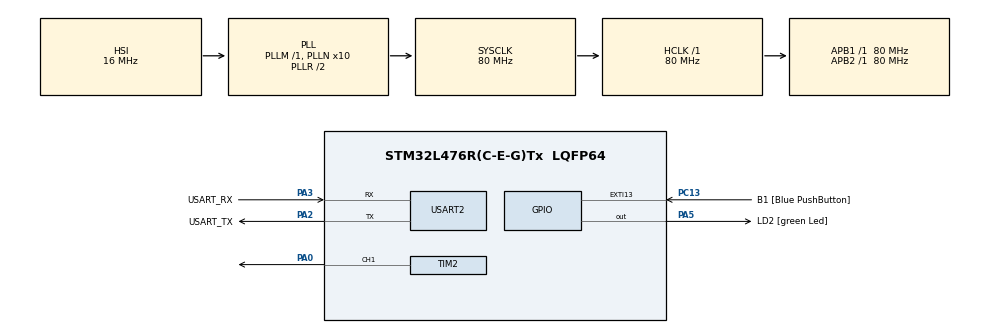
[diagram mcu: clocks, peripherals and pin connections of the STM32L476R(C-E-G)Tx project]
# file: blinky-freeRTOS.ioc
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FREERTOS.Tasks01=defaultTask,0,512,StartDefaultTask,Default,NULL,Dynamic,NULL,NULL
FREERTOS.configENABLE_FPU=1
FREERTOS.configMINIMAL_STACK_SIZE=512
FREERTOS.configTIMER_TASK_PRIORITY=4
FREERTOS.configTOTAL_HEAP_SIZE=49152
FREERTOS.configUSE_COUNTING_SEMAPHORES=1
FREERTOS.configUSE_RECURSIVE_MUTEXES=1
FREERTOS.configUSE_STATS_FORMATTING_FUNCTIONS=1
FREERTOS.configUSE_TIMERS=1
FREERTOS.configUSE_TRACE_FACILITY=1
Mcu.Family=STM32L4
Mcu.Name=STM32L476R(C-E-G)Tx
Mcu.Package=LQFP64
NVIC.PriorityGroup=NVIC_PRIORITYGROUP_4
NVIC.TIM6_DAC_IRQn=true\:15\:0\:false\:false\:true\:false\:false\:true\:true
NVIC.TimeBase=TIM6_DAC_IRQn
NVIC.TimeBaseIP=TIM6
NVIC.USART2_IRQn=true\:5\:0\:false\:false\:true\:true\:true\:true\:true
PA0.Signal=S_TIM2_CH1
PA13\ (JTMS-SWDIO).GPIO_Label=TMS
PA13\ (JTMS-SWDIO).Mode=Serial_Wire
PA13\ (JTMS-SWDIO).Signal=SYS_JTMS-SWDIO
PA14\ (JTCK-SWCLK).GPIO_Label=TCK
PA14\ (JTCK-SWCLK).Mode=Serial_Wire
PA14\ (JTCK-SWCLK).Signal=SYS_JTCK-SWCLK
PA2.GPIO_Label=USART_TX
PA2.GPIO_Mode=GPIO_MODE_AF_PP
PA2.GPIO_PuPd=GPIO_NOPULL
PA2.GPIO_Speed=GPIO_SPEED_FREQ_VERY_HIGH
PA2.Mode=Asynchronous
PA2.Signal=USART2_TX
PA3.GPIO_Label=USART_RX
PA3.GPIO_Mode=GPIO_MODE_AF_PP
PA3.GPIO_PuPd=GPIO_NOPULL
PA3.GPIO_Speed=GPIO_SPEED_FREQ_VERY_HIGH
PA3.Mode=Asynchronous
PA3.Signal=USART2_RX
PA5.GPIO_Label=LD2 [green Led]
PA5.GPIO_ModeDefaultOutputPP=GPIO_MODE_OUTPUT_PP
PA5.GPIO_PuPd=GPIO_NOPULL
PA5.GPIO_Speed=GPIO_SPEED_FREQ_LOW
PA5.Signal=GPIO_Output
PB3\ (JTDO-TRACESWO).GPIO_Label=SWO
PB3\ (JTDO-TRACESWO).Signal=SYS_JTDO-SWO
PC13.GPIO_Label=B1 [Blue PushButton]
PC13.GPIO_ModeDefaultEXTI=GPIO_MODE_IT_FALLING
PC13.GPIO_PuPd=GPIO_NOPULL
PC13.Signal=GPXTI13
PC14-OSC32_IN\ (PC14).Mode=LSE-External-Oscillator
PC14-OSC32_IN\ (PC14).Signal=RCC_OSC32_IN
PC15-OSC32_OUT\ (PC15).Mode=LSE-External-Oscillator
PC15-OSC32_OUT\ (PC15).Signal=RCC_OSC32_OUT
PH0-OSC_IN\ (PH0).Signal=RCC_OSC_IN
PH1-OSC_OUT\ (PH1).Signal=RCC_OSC_OUT
ProjectManager.HeapSize=0x200
ProjectManager.StackSize=0x400
ProjectManager.TargetToolchain=STM32CubeIDE
RCC.ADCFreq_Value=64000000
RCC.AHBFreq_Value=80000000
RCC.APB1Freq_Value=80000000
RCC.APB1TimFreq_Value=80000000
RCC.APB2Freq_Value=80000000
RCC.APB2TimFreq_Value=80000000
RCC.CortexFreq_Value=80000000
RCC.HCLKFreq_Value=80000000
RCC.HSE_VALUE=8000000
RCC.HSI_VALUE=16000000
RCC.MSI_VALUE=4000000
RCC.PLLN=10
RCC.PLLSourceVirtual=RCC_PLLSOURCE_HSI
RCC.PREFETCH_ENABLE=1
RCC.SYSCLKFreq_VALUE=80000000
RCC.SYSCLKSource=RCC_SYSCLKSOURCE_PLLCLK
RCC.USBFreq_Value=64000000
RCC.VCOOutputFreq_Value=160000000
SH.S_TIM2_CH1.0=TIM2_CH1,PWM Generation1 CH1
TIM2.Channel-PWM\ Generation1\ CH1=TIM_CHANNEL_1
TIM2.Period=time_period
TIM2.Prescaler=80
TIM2.Pulse-PWM\ Generation1\ CH1=pulse_width
USART2.VirtualMode-Asynchronous=VM_ASYNC
VP_FREERTOS_VS_CMSIS_V1.Mode=CMSIS_V1
VP_SYS_VS_tim6.Mode=TIM6
board=NUCLEO-L476RG

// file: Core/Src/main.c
/* USER CODE BEGIN Header */
/**
  ******************************************************************************
  * @file           : main.c
  * @brief          : Main program body
  ******************************************************************************
  * @attention
  *
  * Copyright (c) 2022 STMicroelectronics.
  * All rights reserved.
  *
  * This software is licensed under terms that can be found in the LICENSE file
  * in the root directory of this software component.
  * If no LICENSE file comes with this software, it is provided AS-IS.
  *
  ******************************************************************************
  */
/* USER CODE END Header */
#include "main.h"
//#include "cmsis_os.h"			//not using CMSIS wrapped API's

/* USER CODE BEGIN Includes */

//Using FreeRTOS API's directly, copied from cmsis_os.h
#include "FreeRTOS.h"
#include "task.h"
#include "timers.h"
#include "queue.h"
#include "semphr.h"
#include "event_groups.h"

//application specific library files
#include <stdio.h>			//for printf
#include <stdbool.h>		//for bool keyword
#include <string.h>			//for string operations
#include <ctype.h>			//for isalpha()
#include <stdlib.h>			//for atoi()

/* USER CODE END Includes */

/* USER CODE BEGIN PTD */

//parameters required to manipulate PWM generation
typedef enum parameters {
	none 		= 0,
	frequency 	= 1,
	duty_cycle 	= 2
}parameter_t;

//states that state machine will traverse through
typedef enum states{
	STATE0_START,
	STATE1_RX_CHOICE,
	STATE2_RX_DATA,
	STATE3_CHANGE_PWM
}state_t;

/* USER CODE END PTD */

/* USER CODE BEGIN PD */

//events that the event group will set/reset/wait for
#define EVT_PRINT_USR_MSG 		(1 << 0)	//just to kick off first execution
#define EVT_VALID_CHOICE		(1 << 1)	//will be set if user inputs a valid choice (frequency or parameter)
#define EVT_VALID_DATA			(1 << 2)	//will be set if user inputs a valid data (within range based on parameter)
#define EVT_INVALID_DATA		(1 << 3)	//will be set if user inputs either invalid data or invalid choice

#define EVT_ALL					(							\
									EVT_PRINT_USR_MSG 	|	\
									EVT_VALID_CHOICE	|	\
									EVT_VALID_DATA		|	\
									EVT_INVALID_DATA		\
								)

/* USER CODE END PD */

/* USER CODE BEGIN PM */
#define PUTCHAR_PROTOTYPE int __io_putchar(int ch)
/* USER CODE END PM */

TIM_HandleTypeDef htim2;

UART_HandleTypeDef huart2;

//osThreadId defaultTaskHandle;
/* USER CODE BEGIN PV */
volatile
uint32_t	time_period	=	1000000,		//controls frequency of PWM
			pulse_width	=	500000,			//controls duty cycle of PWM
			dcycle		=	50;				//to convert duty cycle accordingly if frequency is changed

bool		rx_flag		=	false,			//gets set when a data packet is received from user
			choice_done	=	false,			//gets set when valid choice is received
			value_done	=	false;			//gets set when valid data is received

uint8_t		byte,							//used to store user input - only one byte
			buffer[20];						//used to store user input - byte by byte until
											//carriage return is encountered

parameter_t param 		= 	none;			//global variable to store user's choice for operation
uint32_t 	value 		= 	0;				//global variable to store user's desired value of frequency or duty cycle

TaskHandle_t 		UART_Rx_Complete_Handle = NULL;	//task handle for UART_Rx_Complete
TaskHandle_t 		Parse_Data_Handle 		= NULL;	//task handle for Parse_Data
TaskHandle_t 		Control_States_Handle 	= NULL;	//task handle for Control_States

QueueHandle_t		xQueueHandle1 	= NULL;	//queue handle for a message queue
SemaphoreHandle_t 	xMutex 			= NULL;	//variable to handle mutex locks and unlocks
EventGroupHandle_t 	xEventsGroup 	= NULL;	//variable to handle the event group

/* USER CODE END PV */

void SystemClock_Config(void);
static void MX_GPIO_Init(void);
static void MX_USART2_UART_Init(void);
static void MX_TIM2_Init(void);
//void StartDefaultTask(void const * argument);

/* USER CODE BEGIN PFP */

/*
 * @brief		:	Middle Priority Task, waits for UART Callback function
 * 					to set the flag. Once the flag is set, it sends the data
 * 					to lower priority task over a message queue.
 *
 * @parameters	:	void *args	:	arguments required to process, if any
 *
 * @returns		:	ideally should never return, in case of an error, calls
 * 					vTaskDelete() to exit gracefully
 */
void UART_Rx_Complete (void *args);

/*
 * @brief		:	Lowest priority task, waits for UART_Rx_Complete to enqueue
 * 					data on message queue. Once data is available on the queue,
 * 					it receives the data, checks its validity and sets appropriate
 * 					events which drive the state machine.
 *
 * @parameters	:	void *args	:	arguments required to process, if any
 *
 * @returns		:	ideally should never return, in case of an error, calls
 * 					vTaskDelete() to exit gracefully
 *
 */
void Parse_Data (void *args);

/*
 *	@brief		:	Highest priority task, checks whether an event is set or not,
 *					and drives the state machine accordingly.
 *
 * @parameters	:	void *args	:	arguments required to process, if any
 *
 * @returns		:	ideally should never return, in case of an error, calls
 * 					vTaskDelete() to exit gracefully
 */
void Control_States (void *args);

/*
 * @brief		:	checks whether the data input by user as a desired value is
 * 					valid or not. Checks for alphabets present and whether the
 * 					value is in the range for a specific parameter selected
 *
 * @parameters	:	uint8_t *data	:	pointer to a string in which the data to
 * 										be validated is stored
 *
 * @returns		:	bool			:	true 	- if data is valid
 * 										false	- if data is invalid
 */
bool is_valid_data(uint8_t *data);

/*
 * @brief		:	checks whether the choice input by user as a desired value is
 * 					valid or not. Checks for alphabets present and whether the
 * 					choice is within the specifications provided
 *
 * @parameters	:	uint8_t *data	:	pointer to a string in which the choice to
 * 										be validated is stored
 *
 * @returns		:	bool			:	true 	- if choice is valid
 * 										false	- if choice is invalid
 */
bool is_valid_choice(uint8_t *data);

/*
 * @brief		:	state machine that drives the entire operations. changes states
 * 					based on events
 *
 * @parameters	:	EventBits_t event	:	event set by the event group
 *
 * @returns 	:	none
 */
void state_machine(EventBits_t event);

/*
 * @brief		:	adjusts the PWM generation based on parameter selected and value
 *					provided
 *
 * @parameters	:	parameter_t parameter	:	parameter that needs to be changed
 * 												either frequency or duty cycle
 *
 * 					uint32_t value			:	desired value to be set for the selected
 * 												parameter
 * 												for frequency, 0 < value < 1M
 * 												for duty cycle, 0 <= value <= 100
 *
 * @returns		:	none
 */
void change_pwm_parameters(parameter_t parameter, uint32_t value);

/* USER CODE END PFP */

/* USER CODE BEGIN 0 */

/*
 * Retargets the C library printf function to the USART.
 */
PUTCHAR_PROTOTYPE
{
    /* Place your implementation of fputc here */
    HAL_UART_Transmit(&huart2, (uint8_t *)&ch, 1, 0xFFFF);
    return ch;
}

//this gets called after data reception is complete
void HAL_UART_RxCpltCallback(UART_HandleTypeDef *huart)
{
	static uint8_t i = 0;

	if (byte != '\b')				//if character is not backspace
	{
		buffer[i++] = byte;			//store the received byte in a buffer
		printf("%c", byte);			//print the data
		fflush(stdout);				//force flush to stdout
	}
	else							//if user enters backspace
	{
		if (i == 0)					//this will avoid segmentation fault
		{							//you don't want to access buffer[-1]
			//do nothing if i = 0
		}

		else
		{
			i--;					//decrement index counter so that we can overwrite in buffer
			printf("\b \b");		//erase previously entered character
			fflush(stdout);			//force flush to stdout
		}
	}

	if (byte == '\r')			//user hit enter, data reception complete
	{
		printf("\n");
		rx_flag = true;
		buffer[i++] = '\0';		//put a null character at the end of buffer
		i=0;					//reset index counter to zero for next iteration
		HAL_UART_Receive_IT(&huart2, (uint8_t *)&byte, 1);	//re-arm the interrupt
		return;
	}

	if (i >= 20)		//to avoid seg fault
	{					//should never come here, ideally
		i = 0;
	}

	HAL_UART_Receive_IT(&huart2, (uint8_t *)&byte, 1);
}

/* USER CODE END 0 */

int main(void)
{

  /* MCU Configuration--------------------------------------------------------*/

  /* Reset of all peripherals, Initializes the Flash interface and the Systick. */
  HAL_Init();

  /* Configure the system clock */
  SystemClock_Config();

  /* Initialize all configured peripherals */
  MX_GPIO_Init();
  MX_USART2_UART_Init();
  MX_TIM2_Init();
  /* USER CODE BEGIN 2 */
  HAL_UART_Receive_IT(&huart2, (uint8_t *)&byte, 1); //enable UART Receive Interrupt

  HAL_TIM_PWM_Start(&htim2, TIM_CHANNEL_1);	//start generating PWM

  //create events group
  xEventsGroup = xEventGroupCreate();
  if (xEventsGroup == NULL)
  {
	  printf("Failed to create Message Queue... Entering infinite loop\n\r");
	  while(1);
  }

  /* USER CODE END 2 */

  /* USER CODE BEGIN RTOS_SEMAPHORES */
  /* add semaphores, ... */

  /* Create a mutex type semaphore. */
  xMutex = xSemaphoreCreateMutex();
  if( xMutex == NULL )
  {
	  printf("Failed to create Semaphore Mutex... Entering infinite loop\n\r");
	  while(1);
  }

  /* USER CODE END RTOS_SEMAPHORES */

  /* USER CODE BEGIN RTOS_QUEUES */
  /* add queues, ... */
  //create message queue

  xQueueHandle1 = xQueueCreate(25, sizeof(uint8_t));
  if (xQueueHandle1 == NULL)
  {
	  printf("Failed to create Message Queue... Entering infinite loop\n\r");
	  while(1);
  }

  /* USER CODE END RTOS_QUEUES */

//  /* Create the thread(s) */
//  /* definition and creation of defaultTask */
//  osThreadDef(defaultTask, StartDefaultTask, osPriorityNormal, 0, 512);
//  defaultTaskHandle = osThreadCreate(osThread(defaultTask), NULL);

  /* USER CODE BEGIN RTOS_THREADS */
  /* add threads, ... */

  //create tasks
   BaseType_t xStatus = 0;		//to check return status of xTaskCreate()

  //task with highest priority
  	xStatus = xTaskCreate(
		  	  Control_States,
		  	  "Control_States",
			  512,
			  NULL,
			  tskIDLE_PRIORITY+3,
			  &Control_States_Handle);

  	if (xStatus != pdPASS)
  	{
  		printf("Failed to create task Control_States... Entering infinite loop\n\r");
  		while(1);
  	}

  	xStatus = 0;
  	//task with middle priority
    xStatus = xTaskCreate(
  		  	  UART_Rx_Complete,
  		  	  "UART_Rx_Complete",
  			  512,
  			  NULL,
  			  tskIDLE_PRIORITY+2,
			  &UART_Rx_Complete_Handle);

    if (xStatus != pdPASS)
    {
  	  printf("Failed to create task UART_Rx_Complete... Entering infinite loop\n\r");
  	  while(1);
    }

    xStatus = 0;
    //task with lowest priority
    xStatus = xTaskCreate(
  		  	  Parse_Data,
  		  	  "Parse_Data",
			  512,
  			  NULL,
  			  tskIDLE_PRIORITY+1,
			  &Parse_Data_Handle);

    if (xStatus != pdPASS)
    {
  	  printf("Failed to create task Parse_Data... Entering infinite loop\n\r");
  	  while(1);
    }

  /* USER CODE END RTOS_THREADS */

  /* Start scheduler */
  //osKernelStart();

  /* We should never get here as control is now taken by the scheduler */
  /* Infinite loop */
  /* USER CODE BEGIN WHILE */

  //putting it here so that re-generating .ioc file will not erase it
  vTaskStartScheduler();

  //should never come here
  while (1)
  {
    /* USER CODE END WHILE */

  }
}

void SystemClock_Config(void)
{
  RCC_OscInitTypeDef RCC_OscInitStruct = {0};
  RCC_ClkInitTypeDef RCC_ClkInitStruct = {0};

  /** Configure the main internal regulator output voltage
  */
  if (HAL_PWREx_ControlVoltageScaling(PWR_REGULATOR_VOLTAGE_SCALE1) != HAL_OK)
  {
    Error_Handler();
  }

  /** Initializes the RCC Oscillators according to the specified parameters
  * in the RCC_OscInitTypeDef structure.
  */
  RCC_OscInitStruct.OscillatorType = RCC_OSCILLATORTYPE_HSI;
  RCC_OscInitStruct.HSIState = RCC_HSI_ON;
  RCC_OscInitStruct.HSICalibrationValue = RCC_HSICALIBRATION_DEFAULT;
  RCC_OscInitStruct.PLL.PLLState = RCC_PLL_ON;
  RCC_OscInitStruct.PLL.PLLSource = RCC_PLLSOURCE_HSI;
  RCC_OscInitStruct.PLL.PLLM = 1;
  RCC_OscInitStruct.PLL.PLLN = 10;
  RCC_OscInitStruct.PLL.PLLP = RCC_PLLP_DIV7;
  RCC_OscInitStruct.PLL.PLLQ = RCC_PLLQ_DIV2;
  RCC_OscInitStruct.PLL.PLLR = RCC_PLLR_DIV2;
  if (HAL_RCC_OscConfig(&RCC_OscInitStruct) != HAL_OK)
  {
    Error_Handler();
  }

  /** Initializes the CPU, AHB and APB buses clocks
  */
  RCC_ClkInitStruct.ClockType = RCC_CLOCKTYPE_HCLK|RCC_CLOCKTYPE_SYSCLK
                              |RCC_CLOCKTYPE_PCLK1|RCC_CLOCKTYPE_PCLK2;
  RCC_ClkInitStruct.SYSCLKSource = RCC_SYSCLKSOURCE_PLLCLK;
  RCC_ClkInitStruct.AHBCLKDivider = RCC_SYSCLK_DIV1;
  RCC_ClkInitStruct.APB1CLKDivider = RCC_HCLK_DIV1;
  RCC_ClkInitStruct.APB2CLKDivider = RCC_HCLK_DIV1;

  if (HAL_RCC_ClockConfig(&RCC_ClkInitStruct, FLASH_LATENCY_4) != HAL_OK)
  {
    Error_Handler();
  }
}

static void MX_TIM2_Init(void)
{

  TIM_MasterConfigTypeDef sMasterConfig = {0};
  TIM_OC_InitTypeDef sConfigOC = {0};

  htim2.Instance = TIM2;
  htim2.Init.Prescaler = 80;
  htim2.Init.CounterMode = TIM_COUNTERMODE_UP;
  htim2.Init.Period = time_period;
  htim2.Init.ClockDivision = TIM_CLOCKDIVISION_DIV1;
  htim2.Init.AutoReloadPreload = TIM_AUTORELOAD_PRELOAD_DISABLE;
  if (HAL_TIM_PWM_Init(&htim2) != HAL_OK)
  {
    Error_Handler();
  }
  sMasterConfig.MasterOutputTrigger = TIM_TRGO_RESET;
  sMasterConfig.MasterSlaveMode = TIM_MASTERSLAVEMODE_DISABLE;
  if (HAL_TIMEx_MasterConfigSynchronization(&htim2, &sMasterConfig) != HAL_OK)
  {
    Error_Handler();
  }
  sConfigOC.OCMode = TIM_OCMODE_PWM1;
  sConfigOC.Pulse = pulse_width;
  sConfigOC.OCPolarity = TIM_OCPOLARITY_HIGH;
  sConfigOC.OCFastMode = TIM_OCFAST_DISABLE;
  if (HAL_TIM_PWM_ConfigChannel(&htim2, &sConfigOC, TIM_CHANNEL_1) != HAL_OK)
  {
    Error_Handler();
  }
  HAL_TIM_MspPostInit(&htim2);

}

static void MX_USART2_UART_Init(void)
{

  huart2.Instance = USART2;
  huart2.Init.BaudRate = 115200;
  huart2.Init.WordLength = UART_WORDLENGTH_8B;
  huart2.Init.StopBits = UART_STOPBITS_1;
  huart2.Init.Parity = UART_PARITY_NONE;
  huart2.Init.Mode = UART_MODE_TX_RX;
  huart2.Init.HwFlowCtl = UART_HWCONTROL_NONE;
  huart2.Init.OverSampling = UART_OVERSAMPLING_16;
  huart2.Init.OneBitSampling = UART_ONE_BIT_SAMPLE_DISABLE;
  huart2.AdvancedInit.AdvFeatureInit = UART_ADVFEATURE_NO_INIT;
  if (HAL_UART_Init(&huart2) != HAL_OK)
  {
    Error_Handler();
  }

}

static void MX_GPIO_Init(void)
{
  GPIO_InitTypeDef GPIO_InitStruct = {0};

  /* GPIO Ports Clock Enable */
  __HAL_RCC_GPIOC_CLK_ENABLE();
  __HAL_RCC_GPIOH_CLK_ENABLE();
  __HAL_RCC_GPIOA_CLK_ENABLE();
  __HAL_RCC_GPIOB_CLK_ENABLE();

  /*Configure GPIO pin Output Level */
  HAL_GPIO_WritePin(LD2_GPIO_Port, LD2_Pin, GPIO_PIN_RESET);

  /*Configure GPIO pin : B1_Pin */
  GPIO_InitStruct.Pin = B1_Pin;
  GPIO_InitStruct.Mode = GPIO_MODE_IT_FALLING;
  GPIO_InitStruct.Pull = GPIO_NOPULL;
  HAL_GPIO_Init(B1_GPIO_Port, &GPIO_InitStruct);

  /*Configure GPIO pin : LD2_Pin */
  GPIO_InitStruct.Pin = LD2_Pin;
  GPIO_InitStruct.Mode = GPIO_MODE_OUTPUT_PP;
  GPIO_InitStruct.Pull = GPIO_NOPULL;
  GPIO_InitStruct.Speed = GPIO_SPEED_FREQ_LOW;
  HAL_GPIO_Init(LD2_GPIO_Port, &GPIO_InitStruct);

}

/* USER CODE BEGIN 4 */
//-------------------------------------------------------------------------
void UART_Rx_Complete (void *args)
{
	uint8_t byte_rcvd;
	bool rx_flag_local;
	static uint32_t i = 0;
	for(;;)
	{
		while(xSemaphoreTake(xMutex, (TickType_t) 10) != pdTRUE);
		rx_flag_local = rx_flag;												//reading global memory
		while(xSemaphoreGive(xMutex) != pdTRUE);

		if(rx_flag_local == true)
		{
			while(xSemaphoreTake(xMutex, (TickType_t) 10) != pdTRUE);
			byte_rcvd = buffer[i++];
			while(xSemaphoreGive(xMutex) != pdTRUE);

			xQueueSend(xQueueHandle1, &byte_rcvd, 100);
			if (byte_rcvd == '\r')
			{
				i = 0;

				while(xSemaphoreTake(xMutex, (TickType_t) 10) != pdTRUE);		//wait here till we obtain the mutex lock
				rx_flag = false;												//update global variables
				memset (buffer, 0, sizeof(buffer));
				while(xSemaphoreGive(xMutex) != pdTRUE);						//wait here till we release the mutex lock

			}
			vTaskDelay(100);
		}
	}

	//it should never come here
	//in case of accidental exit, gracefully exit
	vTaskDelete(UART_Rx_Complete_Handle);
}

//-------------------------------------------------------------------------
void Parse_Data (void *args)
{
	uint8_t byte_in, data[20];
	static uint32_t i = 0;
	bool choice_done_local = false, value_done_local = false;

	for(;;)
	{
		if (xQueueReceive(xQueueHandle1, &byte_in, 100) == pdTRUE)
		{
			data[i++] = byte_in;
			if (byte_in == '\r' || i == 20)
			{
				while(xSemaphoreTake(xMutex, (TickType_t) 10) != pdTRUE);
				choice_done_local = choice_done;
				value_done_local = value_done;
				while(xSemaphoreGive(xMutex) != pdTRUE);

				if (!choice_done_local)
				{
					if (is_valid_choice((uint8_t *)&data) == true)
					{
						//critical section for global variable
						while(xSemaphoreTake(xMutex, (TickType_t) 10) != pdTRUE);	//wait here till we obtain the mutex lock
						choice_done = true;											//update global variables
						while(xSemaphoreGive(xMutex) != pdTRUE);					//wait here till we release the mutex lock

						i = 0;
						byte_in = 0;
						xEventGroupSetBits(xEventsGroup,EVT_VALID_CHOICE);
						continue;
					}
					else
					{
						printf("Invalid Input, start over ... \n\r");

						//critical section for global variable
						while(xSemaphoreTake(xMutex, (TickType_t) 10) != pdTRUE);
						choice_done = false;
						while(xSemaphoreGive(xMutex) != pdTRUE);

						xEventGroupSetBits(xEventsGroup,EVT_INVALID_DATA);
					}
				}

				if (choice_done_local && !value_done_local)
				{
					if (is_valid_data((uint8_t *)&data) == true)
					{
						//critical section for global variable
						while(xSemaphoreTake(xMutex, (TickType_t) 10) != pdTRUE);
						value_done = true;
						while(xSemaphoreGive(xMutex) != pdTRUE);

						xEventGroupSetBits(xEventsGroup,EVT_VALID_DATA);
					}
					else
					{
						printf("Invalid Input, start over ... \n\r");

						//critical section for global variable
						while(xSemaphoreTake(xMutex, (TickType_t) 10) != pdTRUE);
						choice_done = false;
						value_done = false;
						while(xSemaphoreGive(xMutex) != pdTRUE);

						xEventGroupSetBits(xEventsGroup,EVT_INVALID_DATA);
					}
				}

				i = 0;
				memset (data, 0, sizeof(data));
			}
			vTaskDelay(100);
		}
	}

	//it should never come here
	//in case of accidental exit, gracefully exit
	vTaskDelete(Parse_Data_Handle);
}

//-------------------------------------------------------------------------
void Control_States (void *args)
{
	EventBits_t uxBits = 0;

	//wait for a short period of time for an event to occur
	//if it occurs, clear it and then enter the super loop
	//in ideal case, this should never happen
	uxBits = xEventGroupWaitBits(
            xEventsGroup  ,
			1,
            pdTRUE,
            pdFALSE,
            1);
	xEventGroupClearBits(xEventsGroup, EVT_ALL);

	for (;;)
	{
		uxBits = 0;
		uxBits = xEventGroupWaitBits(
	            xEventsGroup  ,			/* The event group being tested. */
				EVT_ALL, 				/* The bits within the event group to wait for. */
	            pdTRUE,        			/* set bit should be cleared before returning. */
	            pdFALSE,       			/* Don't wait for all bits, any bit will do. */
	            1000);					/* Wait a maximum of 1000ms for either bit to be set. */
		state_machine(uxBits);
	}

	//it should never come here
	//in case of accidental exit, gracefully exit
	vTaskDelete(Control_States_Handle);
}

//-------------------------------------------------------------------------
void state_machine(EventBits_t event)
{
	state_t current_state;
	static state_t next_state = STATE0_START;

	current_state = next_state;

	switch(current_state)
	{
		case STATE0_START:

			//critical section for global memory access
			while(xSemaphoreTake(xMutex, (TickType_t) 10) != pdTRUE);
			choice_done = false;
			value_done = false;
			while(xSemaphoreGive(xMutex) != pdTRUE);

			printf("Enter 1 for frequency & 2 for Duty Cycle: ");
			fflush(stdout);
			next_state = STATE1_RX_CHOICE;
			break;

		case STATE1_RX_CHOICE:
			next_state = STATE1_RX_CHOICE;
			if (event & EVT_VALID_CHOICE)
			{
				switch(param)
				{
					case frequency:
						printf("Enter frequency in Hz: ");
						fflush(stdout);
						break;

					case duty_cycle:
						printf("Enter duty cycle in %%: ");
						fflush(stdout);
						break;

					case none:
					default:
						break;
				}
				next_state = STATE2_RX_DATA;
			}

			if (event & EVT_INVALID_DATA)
			{
				next_state = STATE0_START;
			}

			break;

		case STATE2_RX_DATA:
			next_state = STATE2_RX_DATA;
			if (event & EVT_VALID_DATA)
			{
				next_state = STATE3_CHANGE_PWM;
			}

			if (event & EVT_INVALID_DATA)
			{
				next_state = STATE0_START;
			}
			break;

		case STATE3_CHANGE_PWM:
			change_pwm_parameters(param, value);
			next_state = STATE0_START;
			break;
	}
}

//-------------------------------------------------------------------------
bool is_valid_choice(uint8_t *data)
{
	uint32_t i;

	uint8_t selec;

	for (i = 0; i < strlen((const char *)data); i++)
	{
		if (data[i] != '\r' && isdigit(data[i]) == 0)
		{
			return false;
		}
	}

	selec = atoi((const char *) data);

	switch (selec)
	{
	case frequency:
		param = frequency;
		break;

	case duty_cycle:
		param = duty_cycle;
		break;

	default:
		return false;
	}

	return true;
}

//-------------------------------------------------------------------------
bool is_valid_data(uint8_t *data)
{
	uint32_t i;

	for (i = 0; i < strlen((const char *)data); i++)
	{
		if (data[i] != '\r' && isdigit(data[i]) == 0)
		{
			return false;
		}
	}

	value = atoi((const char*)data);

	if ((param == frequency  && (value <= 0 || value > 1000000)) ||
		(param == duty_cycle && (value < 0  || value > 100)))
	{
		return false;
	}

	return true;
}

//-------------------------------------------------------------------------
void change_pwm_parameters(parameter_t parameter, uint32_t value)
{
	//de-initialize timer, prevent risk of interruption
	if (HAL_TIM_PWM_DeInit(&htim2) != HAL_OK)
	{
		Error_Handler();
	}

	if ((parameter == frequency  && (value <= 0 || value > 1000000)) ||
		(parameter == duty_cycle && (value < 0  || value > 100)))
	{
		parameter = 0;
	}

	switch(parameter)
	{
		case frequency:

			//critical section for global memory access
			while(xSemaphoreTake(xMutex, (TickType_t) 10) != pdTRUE);
			time_period = 1000000/value;				//adjust frequency accordingly
			pulse_width = (time_period/100)*dcycle;		//pulse width should remain constant in %
			while(xSemaphoreGive(xMutex) != pdTRUE);

			break;

		case duty_cycle:

			//critical section for global memory access
			while(xSemaphoreTake(xMutex, (TickType_t) 10) != pdTRUE);
			pulse_width = (time_period/100)*value;
			dcycle = value;
			while(xSemaphoreGive(xMutex) != pdTRUE);

			break;

		default:
			printf("Wrong parameter!!--\n\r");
			break;
	}

	//re-initialize the timer with updated values
	MX_TIM2_Init();

	//start generating PWM
	HAL_TIM_PWM_Start(&htim2, TIM_CHANNEL_1);
}
//-------------------------------------------------------------------------

/* USER CODE END 4 */

//void StartDefaultTask(void const * argument)
//{
//  /* USER CODE BEGIN 5 */
////  /* Infinite loop */
////  for(;;)
////  {
////    osDelay(1);
////  }
//  /* USER CODE END 5 */
//}

void HAL_TIM_PeriodElapsedCallback(TIM_HandleTypeDef *htim)
{
  if (htim->Instance == TIM6) {
    HAL_IncTick();
  }
}

void Error_Handler(void)
{
  __disable_irq();
  while (1)
  {
  }
}
